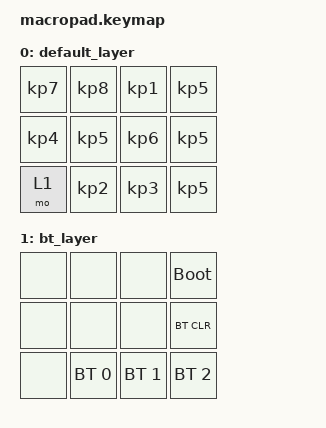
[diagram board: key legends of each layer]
#include <behaviors.dtsi>
#include <dt-bindings/zmk/keys.h>
#include <dt-bindings/zmk/bt.h>

/ {  
    keymap {
        compatible = "zmk,keymap";
        sensor-bindings = <&inc_dec_kp C_VOL_UP C_VOL_DN>;

        default_layer {
            bindings = <
                &kp KP_N7     &kp KP_N8     &kp KP_N1     &kp KP_N5
                &kp KP_N4     &kp KP_N5     &kp KP_N6     &kp KP_N5
                &mo 1         &kp KP_N2     &kp KP_N3     &kp KP_N5
            >;
        }; 
        
        bt_layer {
            bindings = <
                &none            &none            &none                   &bootloader
                &none            &none            &none                   &bt BT_CLR
                &none            &bt BT_SEL 0     &bt BT_SEL 1            &bt BT_SEL 2
            >; 
        };
    };
};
